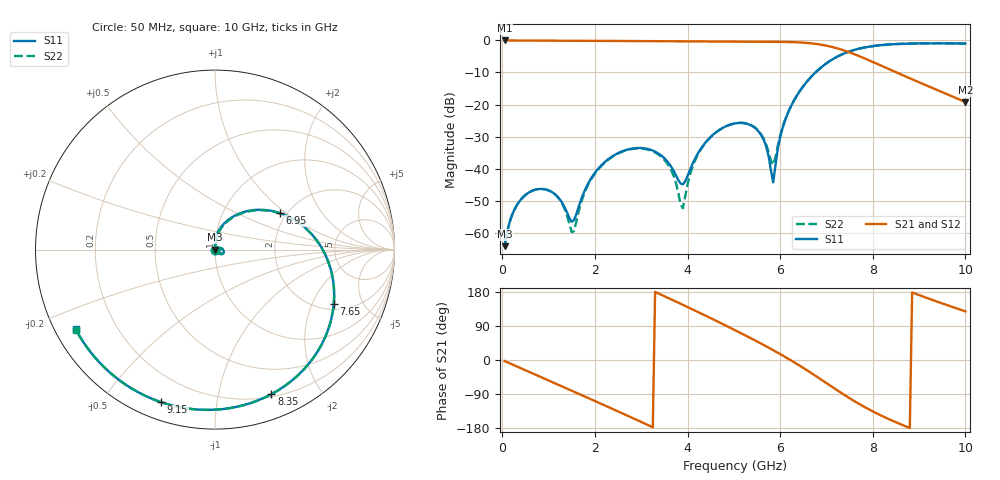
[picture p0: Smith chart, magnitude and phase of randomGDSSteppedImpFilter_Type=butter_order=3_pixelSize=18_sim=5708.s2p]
! freq	dB(S11)	phase(S11)	dB(S12)	phase(S12)
!  dB(S21)	phase(S21)	dB(S22)	phase(S22)
!S-par simulation data
#  GHz  S  DB  R 50
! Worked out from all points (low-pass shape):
!   200 points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, 50 MHz to 10 GHz, reference 50 ohm
!   highest |S21| = -0.01 dB at 50 MHz (marker M1); lowest = -19.3 dB at 10 GHz (marker M2)
!   |S21| within 3 dB of the highest: start of sweep to 7.354 GHz
!   lowest |S11| = -64.2 dB at 50 MHz (marker M3), VSWR 1.00, Z = 50.1 - j0.029 ohm
!   |S11| at or under -10 dB: start of sweep to 6.762 GHz
!   |S22| runs from -64.2 to -0.9 dB; largest |S21 - S12| = 0
!   S11 on the Smith chart (normalised r, x): 50 MHz: 1.00, -0.00; 6.95 GHz: 1.83, +0.91; 7.65 GHz: 2.30, -2.94; 8.35 GHz: 0.23, -1.44; 9.15 GHz: 0.08, -0.70; 10 GHz: 0.06, -0.26
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0.05  -64.21 -28.0  -0.01 -2.7  -0.01 -2.7  -64.20 -28.0
0.25  -53.17 -88.5  -0.03 -13.6  -0.03 -13.6  -53.15 -88.2
0.55  -47.68 -115.3  -0.04 -29.7  -0.04 -29.7  -47.66 -114.3
1.15  -48.14 -163.5  -0.08 -62.1  -0.08 -62.1  -48.21 -159.1
1.5  -56.57 112.5  -0.10 -81.0  -0.10 -81.0  -59.85 120.3
1.75  -47.83 22.6  -0.11 -94.6  -0.11 -94.6  -48.49 13.6
2.45  -35.54 -32.2  -0.16 -132.9  -0.16 -132.9  -35.68 -36.8
3.4  -35.55 -78.6  -0.24 174.1  -0.24 174.1  -35.91 -87.4
3.65  -39.49 -79.6  -0.26 159.9  -0.26 159.9  -40.59 -95.3
3.9  -44.91 -28.9  -0.28 145.5  -0.28 145.5  -52.37 -18.4
4.05  -40.50 9.7  -0.29 136.8  -0.29 136.8  -42.02 31.5
4.3  -33.52 17.0  -0.31 122.2  -0.31 122.2  -33.75 27.9
5.05  -25.84 -15.6  -0.37 77.2  -0.37 77.2  -25.82 -10.1
5.6  -29.77 -42.7  -0.40 42.5  -0.40 42.5  -29.52 -33.5
5.85  -44.31 28.3  -0.42 26.0  -0.42 26.0  -38.82 26.9
6.1  -25.18 88.4  -0.46 8.7  -0.46 8.7  -25.00 83.0
6.7  -10.89 49.2  -0.95 -36.7  -0.95 -36.7  -10.88 48.4
6.95  -7.67 29.6  -1.49 -57.0  -1.49 -57.0  -7.66 29.2
7.65  -2.76 -24.5  -4.57 -111.9  -4.57 -111.9  -2.76 -24.5
8.35  -1.26 -68.7  -8.95 -156.2  -8.95 -156.2  -1.26 -68.6
9.15  -0.90 -109.5  -13.99 164.5  -13.99 164.5  -0.90 -109.3
10  -0.97 -150.4  -19.25 128.4  -19.25 128.4  -0.97 -150.1
